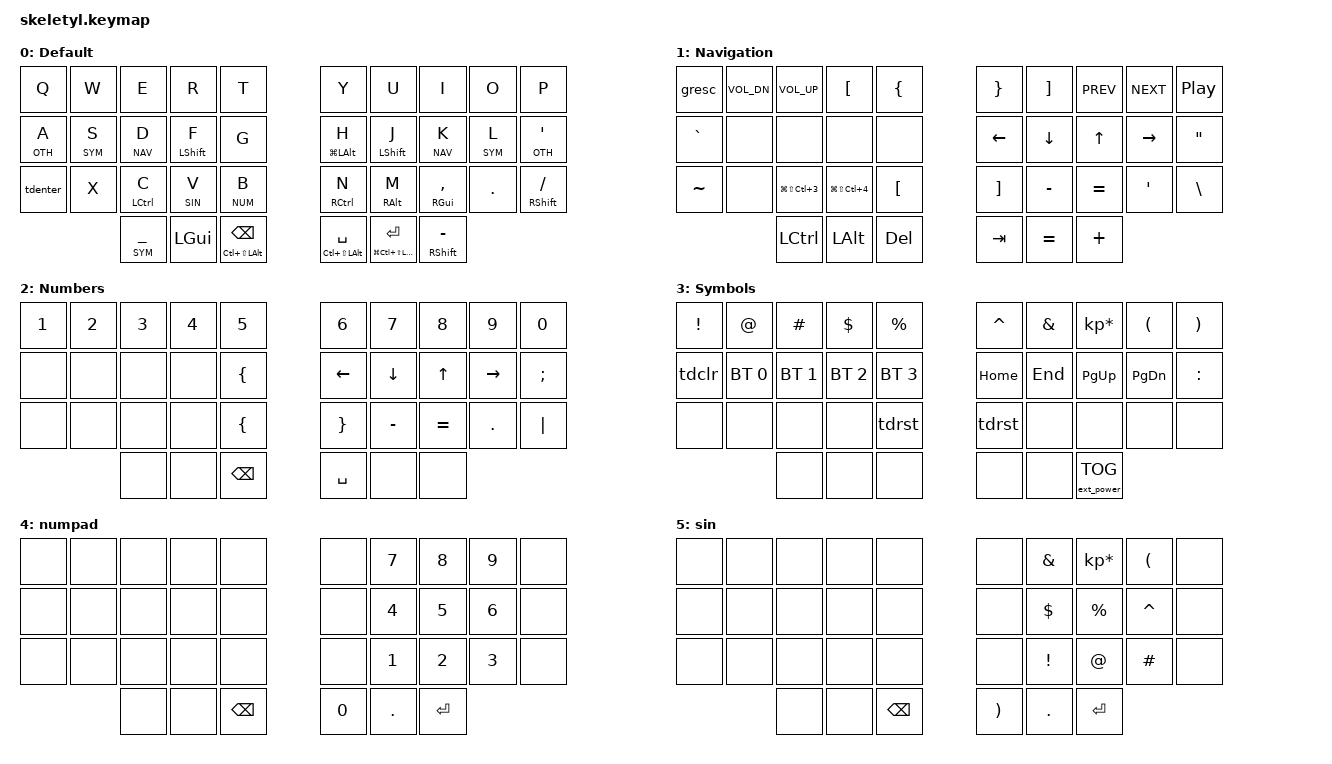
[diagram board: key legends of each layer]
#include <behaviors.dtsi>
#include <dt-bindings/zmk/bt.h>
#include <dt-bindings/zmk/ext_power.h>
#include <dt-bindings/zmk/keys.h>
#include <dt-bindings/zmk/outputs.h>

#define DEFAULT 0
#define NAV     1
#define SYM     2
#define OTH     3
#define NUM     4
#define SIN     5


#define TAPPING_TERM 200
#define QUICK_TAP    200

&lt {
	flavor = "tap-preferred";
	tapping-term-ms = <TAPPING_TERM>;
    quick-tap-ms = <QUICK_TAP>;
};

&mt {
	flavor = "tap-preferred";
	tapping-term-ms = <TAPPING_TERM>;
    quick-tap-ms = <QUICK_TAP>;

};

/ {
    behaviors {
        hm: layer_mods {
            compatible = "zmk,behavior-hold-tap";
            label = "LAYER_MODS";
            #binding-cells = <2>;
            tapping-term-ms = <TAPPING_TERM>;
            quick_tap_ms = <QUICK_TAP>;
            flavor = "tap-preferred";
            bindings = <&kp>, <&kp>;
        };
        hs: homerow_shift {
            compatible = "zmk,behavior-hold-tap";
            label = "HOMEROW_SHIFT";
            #binding-cells = <2>;
            tapping-term-ms = <TAPPING_TERM>;
            quick_tap_ms = <QUICK_TAP>;
            flavor = "tap-preferred";
            bindings = <&kp>, <&kp>;
        };
        tdclr: tap_dance_0 {
            compatible = "zmk,behavior-tap-dance";
            label = "TAP_DANCE_0";
            #binding-cells = <0>;
            tapping-term-ms = <200>;
            bindings = <&none>, <&bt BT_CLR>;
        };
        tdrst: tap_dance_1 {
            compatible = "zmk,behavior-tap-dance";
            label = "TAP_DANCE_0";
            #binding-cells = <0>;
            tapping-term-ms = <200>;
            bindings = <&none>, <&bootloader>;
        };
        tdenter: tap_dance_2 {
            compatible = "zmk,behavior-tap-dance";
            label = "TAP_DANCE_0";
            #binding-cells = <0>;
            tapping-term-ms = <200>;
            bindings = <&kp Z>, <&kp ENTER>;
        };
    };

  macros {
    arrow: arrow {
      label = "Arrow";
      compatible = "zmk,behavior-macro";
      #binding-cells = <0>;
      bindings = <&macro_tap &kp MINUS &kp GT>;
    };
    fat_arrow: fat_arrow {
      label = "Fat_Arrow";
      compatible = "zmk,behavior-macro";
      #binding-cells = <0>;
      bindings = <&macro_tap &kp EQUAL &kp GT>;
    };
  };


 keymap {
        compatible = "zmk,keymap";

        default_layer {
            label = "Default";

            bindings = <
//╭──────────┬──────────┬──────────┬──────────┬──────────╮               ╭──────────┬──────────┬──────────┬──────────┬──────────╮
     &kp Q      &kp W      &kp E      &kp R       &kp T                     &kp Y      &kp U      &kp I      &kp O       &kp P
//├──────────┼──────────┼──────────┼──────────┼──────────┤               ├──────────┼──────────┼──────────┼──────────┼──────────┤
   &lt OTH A  &lt SYM S   &lt NAV D &hs LSHIFT F  &kp G              &mt LG(LALT) H  &hs LSHIFT J &lt NAV K &lt SYM L &lt OTH SQT
//├──────────┼──────────┼──────────┼──────────┼──────────┤               ├──────────┼──────────┼──────────┼──────────┼──────────┤
&tdenter  &kp X     &mt LCTL C &lt SIN V &lt NUM B              &mt RCTL N &mt RALT M &mt RGUI COMMA &kp DOT   &mt RSHIFT FSLH
//╰──────────┴──────────┼──────────┼──────────┼─────────╯               ╰─────────┼───────────┼──────────┼──────────┼──────────╯
   &lt SYM UNDER      &kp LGUI    &mt LC(LS(LALT)) BSPC        &mt LC(LS(LALT)) SPACE &mt LG(LC(LS(LALT))) ENTER  &mt RSHIFT MINUS
 //            ╰──────────────┴──────────────┴─────────────────╯    ╰─────────────────────┴───────────────┴───────────────╯

            >;
        };

        nav_layer {
            label = "Navigation";

            bindings = <
//╭──────────┬──────────┬──────────┬──────────┬──────────╮               ╭──────────┬──────────┬──────────┬──────────┬──────────╮
    &gresc  &kp C_VOL_DN  &kp C_VOL_UP &kp LBKT   &kp LBRC                &kp RBRC   &kp RBKT   &kp C_PREV &kp C_NEXT &kp C_PLAY_PAUSE
//├──────────┼──────────┼──────────┼──────────┼──────────┤               ├──────────┼──────────┼──────────┼──────────┼──────────┤
    &kp GRAVE   &none      &none      &none       &none                    &kp LEFT   &kp DOWN    &kp UP   &kp RIGHT   &kp DQT
//├──────────┼─────────┼───────-───┼──────────┼──────────┤               ├──────────┼──────────┼──────────┼──────────┼──────────┤
   &kp TILDE   &none &kp LG(LS(LC(N3))) &kp LG(LS(LC(N4))) &kp LBKT            &kp RBKT  &kp MINUS  &kp EQUAL   &kp SQT   &kp BSLH
 //╰──────────┴──────────┼──────────┼──────────┼─────────╯               ╰─────────┼───────────┼──────────┼──────────┼──────────╯
                  &kp LCTL        &kp LALT       &kp DELETE                  &kp TAB         &kp EQUAL        &kp PLUS
 //            ╰──────────────┴──────────────┴─────────────────╯    ╰─────────────────────┴───────────────┴───────────────╯
               >;
        };

        sym_layer {
            label = "Numbers";

            bindings = <
//╭──────────┬──────────┬──────────┬──────────┬──────────╮               ╭──────────┬──────────┬──────────┬──────────┬──────────╮
    &kp N1      &kp N2     &kp N3     &kp N4     &kp N5                     &kp N6     &kp N7     &kp N8     &kp N9     &kp N0
//├──────────┼──────────┼──────────┼──────────┼──────────┤               ├──────────┼──────────┼──────────┼──────────┼──────────┤
    &none       &none      &none      &none     &kp LBRC                   &kp LEFT   &kp DOWN    &kp UP   &kp RIGHT     &kp SEMI
//├──────────┼──────────┼──────────┼──────────┼──────────┤               ├──────────┼──────────┼──────────┼──────────┼──────────┤
    &none       &none      &none      &none     &kp LBRC                  &kp RBRC  &kp MINUS  &kp EQUAL   &kp DOT    &kp PIPE
//╰──────────┴──────────┼──────────┼──────────┼─────────╯               ╰─────────┼───────────┼──────────┼──────────┼──────────╯
                   &none          &none          &kp BSPC                &kp SPACE               &none &none
 //            ╰──────────────┴──────────────┴─────────────────╯    ╰─────────────────────┴───────────────┴───────────────╯
                >;
        };
        oth_layer {
            label = "Symbols";

            bindings = <
//╭──────────┬──────────┬──────────┬──────────┬──────────╮                         ╭──────────┬──────────┬──────────┬──────────┬──────────╮
   &kp EXCL     &kp AT    &kp HASH  &kp DOLLAR &kp PRCNT                            &kp CARET   &kp AMPS &kp KP_MULTIPLY &kp LPAR &kp RPAR
//├──────────┼──────────┼──────────┼──────────┼──────────┤                         ├──────────┼──────────┼──────────┼──────────┼──────────┤
  &tdclr &bt BT_SEL 0 &bt BT_SEL 1 &bt BT_SEL 2 &bt BT_SEL 3                     &kp HOME    &kp END  &kp PG_UP &kp PG_DN      &kp COLON
//├──────────┼──────────┼──────────┼──────────┼──────────┤                         ├──────────┼──────────┼──────s────┼──────────┼──────────┤
      &none      &none      &none      &none     &tdrst                              &tdrst &none &none &none &none
 //╰──────────┴──────────┼──────────┼──────────┼─────────╯                         ╰─────────┼───────────┼──────────┼──────────┼──────────╯
                    &none       &none   &none                 &none    &none   &ext_power EP_TOG
 //            ╰──────────────┴──────────────┴─────────────────╯              ╰─────────────────────┴───────────────┴───────────────╯
                >;
        };
        numpad_layer {
            label = "numpad";
            bindings = <
//╭──────────┬──────────┬──────────┬──────────┬──────────╮                         ╭──────────┬──────────┬──────────┬──────────┬──────────╮
      &none      &none       &none       &none      &none                            &none       &kp N7     &kp N8     &kp N9      &none 
//├──────────┼──────────┼──────────┼──────────┼──────────┤                         ├──────────┼──────────┼──────────┼──────────┼──────────┤
      &none      &none       &none       &none      &none                             &none      &kp N4       &kp N5     &kp N6     &none 
//├──────────┼──────────┼──────────┼──────────┼──────────┤                         ├──────────┼──────────┼──────────┼──────────┼──────────┤
      &none      &none       &none       &none      &none                            &none        &kp N1       &kp N2     &kp N3    &none 
 //╰──────────┴──────────┼──────────┼──────────┼─────────╯                         ╰─────────┼───────────┼──────────┼──────────┼──────────╯
                    &none       &none              &kp BSPC                          &kp N0            &kp DOT   &kp ENTER
 //            ╰──────────────┴──────────────┴─────────────────╯              ╰─────────────────────┴───────────────┴───────────────╯
                >;
        };
                sinpad_layer {
            label = "sin";
            bindings = <
//╭──────────┬──────────┬──────────┬──────────┬──────────╮                         ╭──────────┬──────────┬──────────┬──────────┬──────────╮
     &none       &none      &none      &none     &none                                &none     &kp AMPS &kp KP_MULTIPLY &kp LPAR   &none 
//├──────────┼──────────┼──────────┼──────────┼──────────┤                         ├──────────┼──────────┼──────────┼──────────┼──────────┤
    &none        &none      &none      &none     &none                                &none    &kp DOLLAR   &kp PRCNT   &kp CARET    &none 
//├──────────┼──────────┼──────────┼──────────┼──────────┤                         ├──────────┼──────────┼──────────┼──────────┼──────────┤
     &none      &none       &none       &none      &none                              &none    &kp EXCL       &kp AT     &kp HASH      &none 
 //╰──────────┴──────────┼──────────┼──────────┼─────────╯                         ╰─────────┼───────────┼──────────┼──────────┼──────────╯
                    &none       &none              &kp BSPC                   &kp RPAR     &kp DOT   &kp ENTER
 //            ╰──────────────┴──────────────┴─────────────────╯              ╰─────────────────────┴───────────────┴───────────────╯
                >;
        };

    };
};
